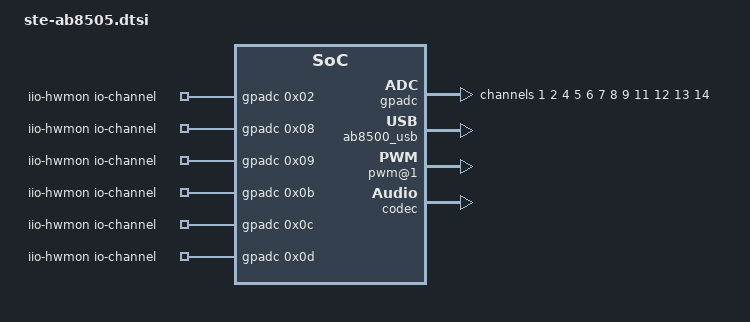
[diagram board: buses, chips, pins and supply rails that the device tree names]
// SPDX-License-Identifier: GPL-2.0-or-later
/*
 * Copyright 2012 Linaro Ltd
 */

#include <dt-bindings/clock/ste-ab8500.h>

/ {
	/* Essential housekeeping hardware monitors */
	iio-hwmon {
		compatible = "iio-hwmon";
		io-channels = <&gpadc 0x02>, /* Battery temperature */
			      <&gpadc 0x08>, /* Main battery voltage */
			      <&gpadc 0x09>, /* VBUS */
			      <&gpadc 0x0b>, /* Charger current */
			      <&gpadc 0x0c>, /* Backup battery voltage */
			      <&gpadc 0x0d>; /* Die temperature */
	};

	soc {
		prcmu@80157000 {
			ab8505 {
				compatible = "stericsson,ab8505";
				interrupt-parent = <&intc>;
				interrupts = <GIC_SPI 40 IRQ_TYPE_LEVEL_HIGH>;
				interrupt-controller;
				#interrupt-cells = <2>;
				#address-cells = <1>;
				#size-cells = <0>;

				ab8500_clock: clock-controller {
					compatible = "stericsson,ab8500-clk";
					#clock-cells = <1>;
				};

				ab8505_gpio: gpio {
					compatible = "stericsson,ab8505-gpio";
					gpio-controller;
					#gpio-cells = <2>;
				};

				rtc {
					compatible = "stericsson,ab8500-rtc";
					interrupts = <17 IRQ_TYPE_LEVEL_HIGH>,
						     <18 IRQ_TYPE_LEVEL_HIGH>;
					interrupt-names = "60S", "ALARM";
				};

				gpadc: adc {
					compatible = "stericsson,ab8500-gpadc";
					interrupts = <39 IRQ_TYPE_LEVEL_HIGH>;
					interrupt-names = "SW_CONV_END";
					vddadc-supply = <&ab8500_ldo_adc_reg>;
					#address-cells = <1>;
					#size-cells = <0>;
					#io-channel-cells = <1>;

					/* GPADC channels */
					bat_ctrl: channel@1 {
						reg = <0x01>;
					};
					btemp_ball: channel@2 {
						reg = <0x02>;
					};
					acc_detect1: channel@4 {
						reg = <0x04>;
					};
					acc_detect2: channel@5 {
						reg = <0x05>;
					};
					adc_aux1: channel@6 {
						reg = <0x06>;
					};
					adc_aux2: channel@7 {
						reg = <0x07>;
					};
					main_batt_v: channel@8 {
						reg = <0x08>;
					};
					vbus_v: channel@9 {
						reg = <0x09>;
					};
					charger_c: channel@b {
						reg = <0x0b>;
					};
					bk_bat_v: channel@c {
						reg = <0x0c>;
					};
					die_temp: channel@d {
						reg = <0x0d>;
					};
					usb_id: channel@e {
						reg = <0x0e>;
					};
				};

				thermal {
					compatible = "stericsson,abx500-temp";
					interrupts = <3 IRQ_TYPE_LEVEL_HIGH>;
					interrupt-names = "ABX500_TEMP_WARM";
				};

				ab8500_fg {
					compatible = "stericsson,ab8500-fg";
					interrupts = <24 IRQ_TYPE_LEVEL_HIGH>,
						     <8 IRQ_TYPE_LEVEL_HIGH>,
						     <28 IRQ_TYPE_LEVEL_HIGH>,
						     <27 IRQ_TYPE_LEVEL_HIGH>,
						     <26 IRQ_TYPE_LEVEL_HIGH>;
					interrupt-names = "NCONV_ACCU",
							  "BATT_OVV",
							  "LOW_BAT_F",
							  "CC_INT_CALIB",
							  "CCEOC";
					monitored-battery = <&battery>;
					io-channels = <&gpadc 0x08>;
					io-channel-names = "main_bat_v";
				};

				ab8500_btemp {
					compatible = "stericsson,ab8500-btemp";
					interrupts = <20 IRQ_TYPE_LEVEL_HIGH>,
						     <80 IRQ_TYPE_LEVEL_HIGH>,
						     <83 IRQ_TYPE_LEVEL_HIGH>,
						     <81 IRQ_TYPE_LEVEL_HIGH>,
						     <82 IRQ_TYPE_LEVEL_HIGH>;
					interrupt-names = "BAT_CTRL_INDB",
							  "BTEMP_LOW",
							  "BTEMP_HIGH",
							  "BTEMP_LOW_MEDIUM",
							  "BTEMP_MEDIUM_HIGH";
					monitored-battery = <&battery>;
					io-channels = <&gpadc 0x02>,
						      <&gpadc 0x01>;
					io-channel-names = "btemp_ball",
							  "bat_ctrl";
				};

				ab8500_charger {
					compatible = "stericsson,ab8500-charger";
					interrupts = <10 IRQ_TYPE_LEVEL_HIGH>,
						     <11 IRQ_TYPE_LEVEL_HIGH>,
						     <0 IRQ_TYPE_LEVEL_HIGH>,
						     <107 IRQ_TYPE_LEVEL_HIGH>,
						     <106 IRQ_TYPE_LEVEL_HIGH>,
						     <14 IRQ_TYPE_LEVEL_HIGH>,
						     <15 IRQ_TYPE_LEVEL_HIGH>,
						     <79 IRQ_TYPE_LEVEL_HIGH>,
						     <105 IRQ_TYPE_LEVEL_HIGH>,
						     <104 IRQ_TYPE_LEVEL_HIGH>,
						     <89 IRQ_TYPE_LEVEL_HIGH>,
						     <22 IRQ_TYPE_LEVEL_HIGH>,
						     <21 IRQ_TYPE_LEVEL_HIGH>,
						     <16 IRQ_TYPE_LEVEL_HIGH>;
					interrupt-names = "MAIN_CH_UNPLUG_DET",
							  "MAIN_CHARGE_PLUG_DET",
							  "MAIN_EXT_CH_NOT_OK",
							  "MAIN_CH_TH_PROT_R",
							  "MAIN_CH_TH_PROT_F",
							  "VBUS_DET_F",
							  "VBUS_DET_R",
							  "USB_LINK_STATUS",
							  "USB_CH_TH_PROT_R",
							  "USB_CH_TH_PROT_F",
							  "USB_CHARGER_NOT_OKR",
							  "VBUS_OVV",
							  "CH_WD_EXP",
							  "VBUS_CH_DROP_END";
					monitored-battery = <&battery>;
					vddadc-supply = <&ab8500_ldo_adc_reg>;
					io-channels = <&gpadc 0x09>,
						      <&gpadc 0x0b>;
					io-channel-names = "vbus_v",
							  "usb_charger_c";
				};

				ab8500_chargalg {
					compatible = "stericsson,ab8500-chargalg";
					monitored-battery = <&battery>;
				};

				ab8500_usb: phy {
					compatible = "stericsson,ab8500-usb";
					interrupts = <90 IRQ_TYPE_LEVEL_HIGH>,
						     <96 IRQ_TYPE_LEVEL_HIGH>,
						     <14 IRQ_TYPE_LEVEL_HIGH>,
						     <15 IRQ_TYPE_LEVEL_HIGH>,
						     <79 IRQ_TYPE_LEVEL_HIGH>,
						     <74 IRQ_TYPE_LEVEL_HIGH>,
						     <75 IRQ_TYPE_LEVEL_HIGH>;
					interrupt-names = "ID_WAKEUP_R",
							  "ID_WAKEUP_F",
							  "VBUS_DET_F",
							  "VBUS_DET_R",
							  "USB_LINK_STATUS",
							  "USB_ADP_PROBE_PLUG",
							  "USB_ADP_PROBE_UNPLUG";
					vddulpivio18-supply = <&ab8500_ldo_intcore_reg>;
					v-ape-supply = <&db8500_vape_reg>;
					musb_1v8-supply = <&db8500_vsmps2_reg>;
					clocks = <&prcmu_clk PRCMU_SYSCLK>;
					clock-names = "sysclk";
					#phy-cells = <0>;
				};

				key {
					compatible = "stericsson,ab8500-poweron-key";
					interrupts = <6 IRQ_TYPE_LEVEL_HIGH>,
						     <7 IRQ_TYPE_LEVEL_HIGH>;
					interrupt-names = "ONKEY_DBF", "ONKEY_DBR";
				};

				ab8500-sysctrl {
					compatible = "stericsson,ab8500-sysctrl";
				};

				pwm@1 {
					compatible = "stericsson,ab8500-pwm";
					reg = <1>;
					clocks = <&ab8500_clock AB8500_SYSCLK_INT>;
					clock-names = "intclk";
					#pwm-cells = <1>;
				};

				codec: codec {
					compatible = "stericsson,ab8500-codec";

					V-AUD-supply = <&ab8500_ldo_audio_reg>;
					V-AMIC1-supply = <&ab8500_ldo_anamic1_reg>;
					V-AMIC2-supply = <&ab8500_ldo_anamic2_reg>;

					clocks = <&ab8500_clock AB8500_SYSCLK_AUDIO>;
					clock-names = "audioclk";

					stericsson,earpeice-cmv = <950>; /* Units in mV. */
				};

				regulator {
					compatible = "stericsson,ab8505-regulator";

					ab8500_ldo_aux1_reg: ab8500_ldo_aux1 {
						regulator-min-microvolt = <2800000>;
						regulator-max-microvolt = <3300000>;
					};

					ab8500_ldo_aux2_reg: ab8500_ldo_aux2 {
						regulator-min-microvolt = <1100000>;
						regulator-max-microvolt = <3300000>;
					};

					ab8500_ldo_aux3_reg: ab8500_ldo_aux3 {
						regulator-min-microvolt = <1100000>;
						regulator-max-microvolt = <3300000>;
					};

					ab8500_ldo_aux4_reg: ab8500_ldo_aux4 {
						regulator-min-microvolt = <1100000>;
						regulator-max-microvolt = <3300000>;
					};

					ab8500_ldo_aux5_reg: ab8500_ldo_aux5 {
						regulator-min-microvolt = <1050000>;
						regulator-max-microvolt = <2790000>;
					};

					ab8500_ldo_aux6_reg: ab8500_ldo_aux6 {
						regulator-min-microvolt = <1050000>;
						regulator-max-microvolt = <2790000>;
					};

					// supply for v-intcore12; VINTCORE12 LDO
					ab8500_ldo_intcore_reg: ab8500_ldo_intcore {
						regulator-min-microvolt = <1250000>;
						regulator-max-microvolt = <1350000>;
					};

					// supply for gpadc; ADC LDO
					ab8500_ldo_adc_reg: ab8500_ldo_adc {
					};

					// supply for ab8500-vaudio; VAUDIO LDO
					ab8500_ldo_audio_reg: ab8500_ldo_audio {
					};

					// supply for v-anamic1 VAMIC1 LDO
					ab8500_ldo_anamic1_reg: ab8500_ldo_anamic1 {
					};

					// supply for v-amic2; VAMIC2 LDO; reuse constants for AMIC1
					ab8500_ldo_anamic2_reg: ab8500_ldo_anamic2 {
					};

					// supply for v-aux8; VAUX8 LDO
					ab8500_ldo_aux8_reg: ab8500_ldo_aux8 {
					};

					// supply for U8500 CSI/DSI; VANA LDO
					ab8500_ldo_ana_reg: ab8500_ldo_ana {
					};
				};
			};
		};

		sound {
			stericsson,audio-codec = <&codec>;
			clocks = <&prcmu_clk PRCMU_SYSCLK>, <&ab8500_clock AB8500_SYSCLK_ULP>, <&ab8500_clock AB8500_SYSCLK_INT>;
			clock-names = "sysclk", "ulpclk", "intclk";
		};

		mcde@a0350000 {
			vana-supply = <&ab8500_ldo_ana_reg>;

			dsi@a0351000 {
				vana-supply = <&ab8500_ldo_ana_reg>;
			};
			dsi@a0352000 {
				vana-supply = <&ab8500_ldo_ana_reg>;
			};
			dsi@a0353000 {
				vana-supply = <&ab8500_ldo_ana_reg>;
			};
		};

		usb_per5@a03e0000 {
			phys = <&ab8500_usb>;
			phy-names = "usb";
		};
	};
};
